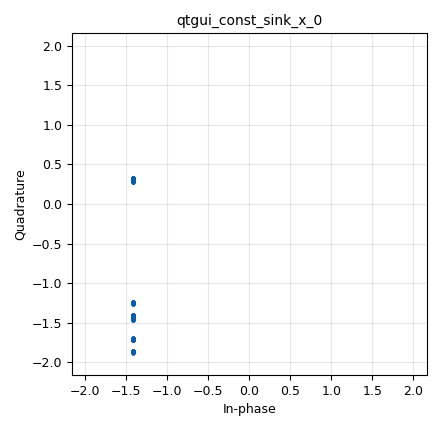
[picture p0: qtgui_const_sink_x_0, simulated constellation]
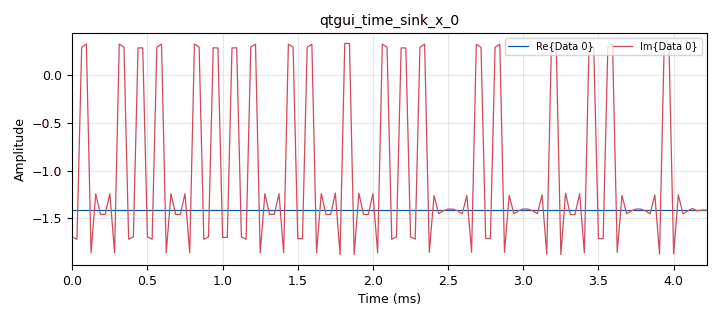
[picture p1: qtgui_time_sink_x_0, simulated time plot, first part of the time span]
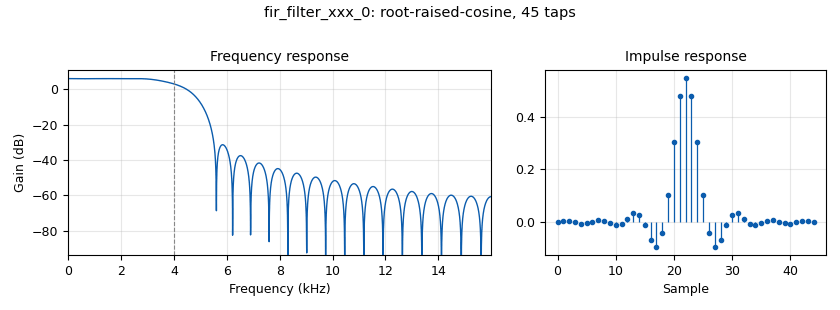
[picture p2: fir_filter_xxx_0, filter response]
options:
  parameters:
    author: p
    generate_options: qt_gui
    id: week5_lecture24_1
    output_language: python
    title: Not titled yet
  states: {}

blocks:
- name: delay
  id: variable_qtgui_range
  parameters:
    rangeType: int
    start: '0'
    step: '1'
    stop: '100'
    value: '0'
  states: {}
- name: excess_bw
  id: variable
  parameters:
    value: '0.35'
  states: {}
- name: my_const
  id: variable_constellation
  parameters:
    const_points: '[-1-1j, -1+1j, 1+1j, 1-1j]'
    dims: '1'
    normalization: digital.constellation.AMPLITUDE_NORMALIZATION
    precision: '8'
    rot_sym: '4'
    sym_map: '[0, 1, 3, 2]'
    type: calcdist
  states: {}
- name: rrc_taps
  id: variable_rrc_filter_taps
  parameters:
    alpha: excess_bw
    gain: sps **0.5
    ntaps: 11*sps
    samp_rate: samp_rate
    sym_rate: samp_rate //sps
  states: {}
- name: samp_rate
  id: variable
  parameters:
    value: '32000'
  states: {}
- name: sps
  id: variable
  parameters:
    value: '4'
  states: {}
- name: analog_random_source_x_0
  id: analog_random_source_x
  parameters:
    max: '2'
    min: '0'
    num_samps: '1000'
    repeat: 'True'
    type: byte
  states: {}
- name: blocks_delay_0
  id: blocks_delay
  parameters:
    delay: delay
    type: complex
  states: {}
- name: blocks_throttle2_0
  id: blocks_throttle2
  parameters:
    samples_per_second: samp_rate
    type: complex
  states: {}
- name: digital_constellation_modulator_0
  id: digital_constellation_modulator
  parameters:
    constellation: my_const
    differential: 'False'
    excess_bw: excess_bw
    samples_per_symbol: sps
  states: {}
- name: fir_filter_xxx_0
  id: fir_filter_xxx
  parameters:
    decim: sps
    taps: rrc_taps
    type: ccc
  states: {}
- name: qtgui_const_sink_x_0
  id: qtgui_const_sink_x
  parameters:
    autoscale: 'True'
    grid: 'True'
    size: '1024'
    type: complex
  states: {}
- name: qtgui_time_sink_x_0
  id: qtgui_time_sink_x
  parameters:
    autoscale: 'True'
    grid: 'True'
    size: '1024'
    srate: samp_rate
    type: complex
  states: {}

connections:
- [analog_random_source_x_0, '0', digital_constellation_modulator_0, '0']
- [blocks_delay_0, '0', fir_filter_xxx_0, '0']
- [blocks_throttle2_0, '0', blocks_delay_0, '0']
- [digital_constellation_modulator_0, '0', blocks_throttle2_0, '0']
- [fir_filter_xxx_0, '0', qtgui_const_sink_x_0, '0']
- [fir_filter_xxx_0, '0', qtgui_time_sink_x_0, '0']

metadata:
  file_format: 1
  grc_version: 3.10.7.0
